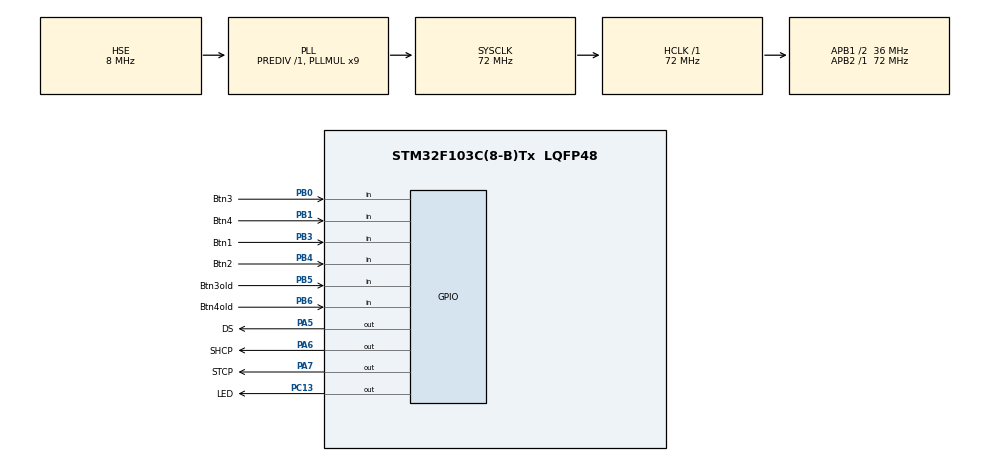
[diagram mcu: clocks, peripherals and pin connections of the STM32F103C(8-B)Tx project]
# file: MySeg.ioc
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Mcu.Family=STM32F1
Mcu.Name=STM32F103C(8-B)Tx
Mcu.Package=LQFP48
NVIC.PriorityGroup=NVIC_PRIORITYGROUP_4
PA13.Mode=Serial_Wire
PA13.Signal=SYS_JTMS-SWDIO
PA14.Mode=Serial_Wire
PA14.Signal=SYS_JTCK-SWCLK
PA5.GPIO_Label=DS
PA5.Signal=GPIO_Output
PA6.GPIO_Label=SHCP
PA6.Signal=GPIO_Output
PA7.GPIO_Label=STCP
PA7.Signal=GPIO_Output
PB0.GPIO_Label=Btn3
PB0.Signal=GPIO_Input
PB1.GPIO_Label=Btn4
PB1.Signal=GPIO_Input
PB3.GPIO_Label=Btn1
PB3.Signal=GPIO_Input
PB4.GPIO_Label=Btn2
PB4.Signal=GPIO_Input
PB5.GPIO_Label=Btn3old
PB5.Signal=GPIO_Input
PB6.GPIO_Label=Btn4old
PB6.Signal=GPIO_Input
PC13-TAMPER-RTC.GPIO_Label=LED
PC13-TAMPER-RTC.Signal=GPIO_Output
PC14-OSC32_IN.Mode=LSE-External-Oscillator
PC14-OSC32_IN.Signal=RCC_OSC32_IN
PC15-OSC32_OUT.Mode=LSE-External-Oscillator
PC15-OSC32_OUT.Signal=RCC_OSC32_OUT
PD0-OSC_IN.Mode=HSE-External-Oscillator
PD0-OSC_IN.Signal=RCC_OSC_IN
PD1-OSC_OUT.Mode=HSE-External-Oscillator
PD1-OSC_OUT.Signal=RCC_OSC_OUT
ProjectManager.HeapSize=0x200
ProjectManager.StackSize=0x400
ProjectManager.TargetToolchain=CMake
RCC.AHBFreq_Value=72000000
RCC.APB1CLKDivider=RCC_HCLK_DIV2
RCC.APB1Freq_Value=36000000
RCC.APB1TimFreq_Value=72000000
RCC.APB2Freq_Value=72000000
RCC.APB2TimFreq_Value=72000000
RCC.HCLKFreq_Value=72000000
RCC.PLLMUL=RCC_PLL_MUL9
RCC.PLLSourceVirtual=RCC_PLLSOURCE_HSE
RCC.SYSCLKFreq_VALUE=72000000
RCC.SYSCLKSource=RCC_SYSCLKSOURCE_PLLCLK
RCC.USBFreq_Value=72000000
board=custom

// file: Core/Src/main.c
/* USER CODE BEGIN Header */
/**
 ******************************************************************************
 * @file           : main.c
 * @brief          : Main program body
 ******************************************************************************
 * @attention
 *
 * Copyright (c) 2026 STMicroelectronics.
 * All rights reserved.
 *
 * This software is licensed under terms that can be found in the LICENSE file
 * in the root directory of this software component.
 * If no LICENSE file comes with this software, it is provided AS-IS.
 *
 ******************************************************************************
 */
/* USER CODE END Header */
#include "main.h"
#include "gpio.h"

/* USER CODE BEGIN Includes */
#include "hc595.h"
/* USER CODE END Includes */

/* USER CODE BEGIN PD */

/* 按键定义 */
#define BTN1_PIN        Btn1_Pin      /* SET 键 - 确认 */
#define BTN1_Port       GPIOB
#define BTN2_PIN        Btn2_Pin      /* 加键 */
#define BTN2_Port       GPIOB
#define BTN3_PIN        Btn3_Pin      /* 减键 - PB0 */
#define BTN3_Port       GPIOB
#define BTN4_PIN        Btn4_Pin      /* 左移键 - 切换位数 - PB1 */
#define BTN4_Port       GPIOB

/* 闪烁参数 */
#define BLINK_INTERVAL  300           /* 闪烁间隔 (ms) */
#define DEBOUNCE_DELAY  20            /* 按键消抖延时 (ms) */

/* USER CODE END PD */

/* USER CODE BEGIN PV */

/* 设置状态枚举 */
typedef enum {
    SET_MODE_NORMAL = 0,    /* 正常显示模式 */
    SET_MODE_EDIT           /* 设置编辑模式 */
} SetMode_t;

/* 设置位置枚举 (0-百位，1-十位，2-个位) */
typedef enum {
    SET_POS_HUNDRED = 0,
    SET_POS_TEN = 1,
    SET_POS_UNIT = 2
} SetPos_t;

/* 全局变量 */
static SetMode_t g_setMode = SET_MODE_NORMAL;     /* 当前模式 */
static SetPos_t g_setPos = SET_POS_UNIT;          /* 当前设置位 */
static uint16_t g_setValue = 0;                    /* 设置值 (0-999) */
static uint8_t g_blinkState = 1;                   /* 闪烁状态 (1-亮，0-灭) */
static uint32_t g_lastBlinkTime = 0;               /* 上次闪烁时间 */
static uint8_t g_btn1LastState = 1;                /* 按键状态记录 */
static uint8_t g_btn2LastState = 1;
static uint8_t g_btn3LastState = 1;
static uint8_t g_btn4LastState = 1;

/* USER CODE END PV */

void SystemClock_Config(void);
/* USER CODE BEGIN PFP */

/* 按键扫描函数 - 返回 0 表示按下，1 表示释放 */
static uint8_t BTN1_Read(void);
static uint8_t BTN2_Read(void);
static uint8_t BTN3_Read(void);
static uint8_t BTN4_Read(void);

/* 按键处理函数 */
static void BTN1_Handler(void);   /* SET 确认键 */
static void BTN2_Handler(void);   /* 加键 */
static void BTN3_Handler(void);   /* 减键 */
static void BTN4_Handler(void);   /* 左移切换键 */

/* 显示更新函数 */
static void Display_Update(void);

/* USER CODE END PFP */

/* USER CODE BEGIN 0 */

/**
 * @brief  读取按键状态 (低电平有效)
 */
static uint8_t BTN1_Read(void)
{
    return HAL_GPIO_ReadPin(BTN1_Port, BTN1_PIN);
}

static uint8_t BTN2_Read(void)
{
    return HAL_GPIO_ReadPin(BTN2_Port, BTN2_PIN);
}

static uint8_t BTN3_Read(void)
{
    return HAL_GPIO_ReadPin(BTN3_Port, BTN3_PIN);
}

static uint8_t BTN4_Read(void)
{
    return HAL_GPIO_ReadPin(BTN4_Port, BTN4_PIN);
}

/**
 * @brief  BTN1 - SET 确认键处理
 *         正常模式 -> 按下进入设置模式
 *         设置模式 -> 按下确认设置，返回正常模式
 */
static void BTN1_Handler(void)
{
    uint8_t currState = BTN1_Read();

    /* 检测按键按下 (下降沿) */
    if(g_btn1LastState == 1 && currState == 0)
    {
        HAL_Delay(DEBOUNCE_DELAY);  /* 消抖 */
        if(BTN1_Read() == 0)
        {
            /* 切换模式 */
            if(g_setMode == SET_MODE_NORMAL)
            {
                /* 进入设置模式，从个位开始 */
                g_setMode = SET_MODE_EDIT;
                g_setPos = SET_POS_UNIT;
                g_blinkState = 1;
                g_lastBlinkTime = HAL_GetTick();
            }
            else
            {
                /* 确认设置，返回正常模式 */
                g_setMode = SET_MODE_NORMAL;
                g_blinkState = 1;  /* 停止闪烁，全亮 */
            }

            /* 等待按键释放 */
            while(BTN1_Read() == 0);
            HAL_Delay(DEBOUNCE_DELAY);
        }
    }
    g_btn1LastState = currState;
}

/**
 * @brief  BTN2 - 加键处理
 *         设置模式下有效，当前位数字 +1
 */
static void BTN2_Handler(void)
{
    uint8_t currState = BTN2_Read();

    /* 只在设置模式下响应 */
    if(g_setMode != SET_MODE_EDIT)
    {
        g_btn2LastState = currState;
        return;
    }

    /* 检测按键按下 (下降沿) */
    if(g_btn2LastState == 1 && currState == 0)
    {
        HAL_Delay(DEBOUNCE_DELAY);  /* 消抖 */
        if(BTN2_Read() == 0)
        {
            /* 根据当前设置位，增加对应位的值 */
            uint8_t digit;
            switch(g_setPos)
            {
                case SET_POS_HUNDRED:
                    digit = (g_setValue / 100) % 10;
                    digit = (digit + 1) % 10;
                    g_setValue = (g_setValue % 100) + digit * 100;
                    break;
                case SET_POS_TEN:
                    digit = (g_setValue / 10) % 10;
                    digit = (digit + 1) % 10;
                    g_setValue = (g_setValue % 10) + digit * 10 + (g_setValue / 100) * 100;
                    break;
                case SET_POS_UNIT:
                    digit = g_setValue % 10;
                    digit = (digit + 1) % 10;
                    g_setValue = (g_setValue / 10) * 10 + digit;
                    break;
            }

            /* 等待按键释放 */
            while(BTN2_Read() == 0);
            HAL_Delay(DEBOUNCE_DELAY);
        }
    }
    g_btn2LastState = currState;
}

/**
 * @brief  BTN3 - 减键处理
 *         设置模式下有效，当前位数字 -1
 */
static void BTN3_Handler(void)
{
    uint8_t currState = BTN3_Read();

    /* 只在设置模式下响应 */
    if(g_setMode != SET_MODE_EDIT)
    {
        g_btn3LastState = currState;
        return;
    }

    /* 检测按键按下 (下降沿) */
    if(g_btn3LastState == 1 && currState == 0)
    {
        HAL_Delay(DEBOUNCE_DELAY);  /* 消抖 */
        if(BTN3_Read() == 0)
        {
            /* 翻转 LED 用于调试 - 确认按键被检测到 */
            HAL_GPIO_TogglePin(LED_GPIO_Port, LED_Pin);

            /* 根据当前设置位，减少对应位的值 */
            uint8_t digit;
            switch(g_setPos)
            {
                case SET_POS_HUNDRED:
                    digit = (g_setValue / 100) % 10;
                    digit = (digit + 9) % 10;  /* -1 等效于 +9 再取模 */
                    g_setValue = (g_setValue % 100) + digit * 100;
                    break;
                case SET_POS_TEN:
                    digit = (g_setValue / 10) % 10;
                    digit = (digit + 9) % 10;
                    g_setValue = (g_setValue % 10) + digit * 10 + (g_setValue / 100) * 100;
                    break;
                case SET_POS_UNIT:
                    digit = g_setValue % 10;
                    digit = (digit + 9) % 10;
                    g_setValue = (g_setValue / 10) * 10 + digit;
                    break;
            }

            /* 等待按键释放 */
            while(BTN3_Read() == 0);
            HAL_Delay(DEBOUNCE_DELAY);
        }
    }
    g_btn3LastState = currState;
}

/**
 * @brief  BTN4 - 左移切换键处理
 *         设置模式下有效，切换设置的位数 (个位->十位->百位->个位 循环)
 */
static void BTN4_Handler(void)
{
    uint8_t currState = BTN4_Read();

    /* 只在设置模式下响应 */
    if(g_setMode != SET_MODE_EDIT)
    {
        g_btn4LastState = currState;
        return;
    }

    /* 检测按键按下 (下降沿) */
    if(g_btn4LastState == 1 && currState == 0)
    {
        HAL_Delay(DEBOUNCE_DELAY);  /* 消抖 */
        if(BTN4_Read() == 0)
        {
            /* 切换设置位置：个位 -> 十位 -> 百位 -> 个位 循环 */
            g_setPos = (SetPos_t)((g_setPos + 1) % 3);

            /* 重置闪烁状态和时间 */
            g_blinkState = 1;
            g_lastBlinkTime = HAL_GetTick();

            /* 等待按键释放 */
            while(BTN4_Read() == 0);
            HAL_Delay(DEBOUNCE_DELAY);
        }
    }
    g_btn4LastState = currState;
}

/**
 * @brief  更新显示
 */
static void Display_Update(void)
{
    uint8_t d1, d2, d3;  /* 百位、十位、个位 */

    /* 分解数值 */
    d3 = g_setValue % 10;         /* 个位 */
    d2 = (g_setValue / 10) % 10;  /* 十位 */
    d1 = (g_setValue / 100) % 10; /* 百位 */

    if(g_setMode == SET_MODE_NORMAL)
    {
        /* 正常模式 - 直接显示 */
        HC595_Display3Digits(d1, d2, d3);
    }
    else
    {
        /* 设置模式 - 带闪烁显示 */
        HC595_Display3DigitsWithBlink(d1, d2, d3, g_setPos, g_blinkState);
    }
}

/* USER CODE END 0 */

int main(void)
{

  /* MCU Configuration--------------------------------------------------------*/

  /* Reset of all peripherals, Initializes the Flash interface and the Systick. */
  HAL_Init();

  /* Configure the system clock */
  SystemClock_Config();

  /* Initialize all configured peripherals */
  MX_GPIO_Init();
  /* USER CODE BEGIN 2 */
  HC595_Init();

  /* 初始化设置值 */
  g_setValue = 0;
  g_setMode = SET_MODE_NORMAL;
  g_setPos = SET_POS_UNIT;
  g_blinkState = 1;
  g_lastBlinkTime = HAL_GetTick();
  /* USER CODE END 2 */

  /* Infinite loop */
  /* USER CODE BEGIN WHILE */
  while (1)
  {
    /* 按键扫描处理 */
    BTN1_Handler();  /* SET 确认键 */
    BTN2_Handler();  /* 加键 */
    BTN3_Handler();  /* 减键 */
    BTN4_Handler();  /* 左移切换键 */

    /* 闪烁处理 (仅在设置模式下) */
    if(g_setMode == SET_MODE_EDIT)
    {
        uint32_t currTime = HAL_GetTick();
        if(currTime - g_lastBlinkTime >= BLINK_INTERVAL)
        {
            g_blinkState = !g_blinkState;  /* 切换闪烁状态 */
            g_lastBlinkTime = currTime;
        }
    }

    /* 更新显示 */
    Display_Update();

    /* 短暂延时 */
    HAL_Delay(10);
    /* USER CODE END WHILE */

  }
}

void SystemClock_Config(void)
{
  RCC_OscInitTypeDef RCC_OscInitStruct = {0};
  RCC_ClkInitTypeDef RCC_ClkInitStruct = {0};

  /** Initializes the RCC Oscillators according to the specified parameters
  * in the RCC_OscInitTypeDef structure.
  */
  RCC_OscInitStruct.OscillatorType = RCC_OSCILLATORTYPE_HSE;
  RCC_OscInitStruct.HSEState = RCC_HSE_ON;
  RCC_OscInitStruct.HSEPredivValue = RCC_HSE_PREDIV_DIV1;
  RCC_OscInitStruct.HSIState = RCC_HSI_ON;
  RCC_OscInitStruct.PLL.PLLState = RCC_PLL_ON;
  RCC_OscInitStruct.PLL.PLLSource = RCC_PLLSOURCE_HSE;
  RCC_OscInitStruct.PLL.PLLMUL = RCC_PLL_MUL9;
  if (HAL_RCC_OscConfig(&RCC_OscInitStruct) != HAL_OK)
  {
    Error_Handler();
  }

  /** Initializes the CPU, AHB and APB buses clocks
  */
  RCC_ClkInitStruct.ClockType = RCC_CLOCKTYPE_HCLK|RCC_CLOCKTYPE_SYSCLK
                              |RCC_CLOCKTYPE_PCLK1|RCC_CLOCKTYPE_PCLK2;
  RCC_ClkInitStruct.SYSCLKSource = RCC_SYSCLKSOURCE_PLLCLK;
  RCC_ClkInitStruct.AHBCLKDivider = RCC_SYSCLK_DIV1;
  RCC_ClkInitStruct.APB1CLKDivider = RCC_HCLK_DIV2;
  RCC_ClkInitStruct.APB2CLKDivider = RCC_HCLK_DIV1;

  if (HAL_RCC_ClockConfig(&RCC_ClkInitStruct, FLASH_LATENCY_2) != HAL_OK)
  {
    Error_Handler();
  }
}

void Error_Handler(void)
{
  __disable_irq();
  while (1)
  {
  }
}
